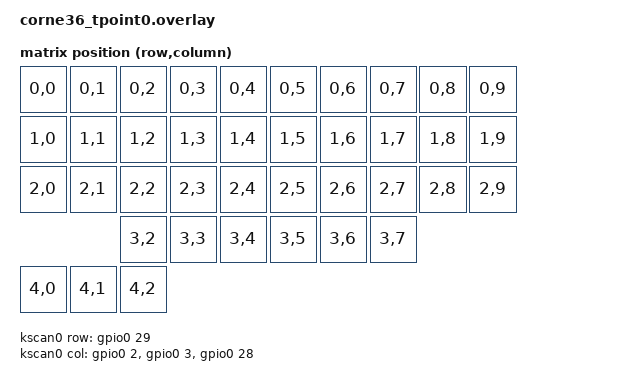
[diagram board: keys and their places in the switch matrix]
/*
 * Copyright (c) 2020 Pete Johanson
 *
 * SPDX-License-Identifier: MIT
 */

#include <dt-bindings/zmk/matrix_transform.h>

/ {
	chosen {
		zmk,kscan = &kscan0;
		zmk,matrix-transform = &default_transform;
 		// zephyr,display = &oled;
	};

	default_transform: keymap_transform_0 {
		compatible = "zmk,matrix-transform";
		columns = <10>;
		rows = <5>;
		map = <
RC(0,0) RC(0,1) RC(0,2) RC(0,3) RC(0,4)  RC(0,5) RC(0,6) RC(0,7) RC(0,8) RC(0,9)
RC(1,0) RC(1,1) RC(1,2) RC(1,3) RC(1,4)  RC(1,5) RC(1,6) RC(1,7) RC(1,8) RC(1,9)
RC(2,0) RC(2,1) RC(2,2) RC(2,3) RC(2,4)  RC(2,5) RC(2,6) RC(2,7) RC(2,8) RC(2,9)
                RC(3,2) RC(3,3) RC(3,4)  RC(3,5) RC(3,6) RC(3,7)
RC(4,0) RC(4,1) RC(4,2)
		>;
		row-offset = <4>;
		col-offset = <0>;
	};

	kscan0: kscan {
		compatible = "zmk,kscan-gpio-matrix";
		label = "KSCAN";
		diode-direction = "col2row";
		wakeup-source;
		row-gpios
			= <&gpio0 29 (GPIO_ACTIVE_HIGH | GPIO_PULL_DOWN)>;
		col-gpios
			= <&gpio0 2 GPIO_ACTIVE_HIGH>
			, <&gpio0 3 GPIO_ACTIVE_HIGH>
			, <&gpio0 28 GPIO_ACTIVE_HIGH>
			;
	};
};

// #include "corne36_trackball_adns9800.dtsi"
// #include "corne36_trackball_pmw3610.dtsi"
// #include "corne36_trackpoint_ps2.dtsi"
// #include "corne36_touchpad_cirque.dtsi" 
#include "corne36_tpoint0_ps2.dtsi" 

/ {
	pd0: virtual_input_0 {
		compatible = "zmk,virtual-input";
	};
	pd1: virtual_input_1 {
		compatible = "zmk,virtual-input";
	};
	tball0: virtual_input_tb_1 {
		compatible = "zmk,virtual-input";
	};
	tball1: virtual_input_tb_2 {
		compatible = "zmk,virtual-input";
	};
	// tpoint0: virtual_input_tp {
	// 	compatible = "zmk,virtual-input";
	// };
	tpad0: virtual_input_gp {
		compatible = "zmk,virtual-input";
	};
	// input_relay_config_102 {
	// 	compatible = "zmk,split-peripheral-input-relay";
	// 	relay-channel = <102>;
	// 	device = <&pd1>;
	// };
	// input_relay_config_103 {
	// 	compatible = "zmk,split-peripheral-input-relay";
	// 	relay-channel = <103>;
	// 	device = <&tball0>;
	// };
	// input_relay_config_104 {
	// 	compatible = "zmk,split-peripheral-input-relay";
	// 	relay-channel = <104>;
	// 	device = <&tball1>;
	// };
	input_relay_config_105 {
		compatible = "zmk,split-peripheral-input-relay";
		relay-channel = <105>;
		device = <&tpoint0>;
	};
	// input_relay_config_106 {
	// 	compatible = "zmk,split-peripheral-input-relay";
	// 	relay-channel = <106>;
	// 	device = <&tpad0>;
	// };
};

#define INPUT_EV_KEY 0x01               /**< Key event */
#define INPUT_EV_REL 0x02               /**< Relative coordinate event */
#define INPUT_EV_ABS 0x03               /**< Absolute coordinate event */
#define INPUT_EV_MSC 0x04               /**< Miscellaneous event */
#define INPUT_EV_VENDOR_START 0xf0      /**< Vendor specific event start */
#define INPUT_EV_VENDOR_STOP 0xff       /**< Vendor specific event stop */

#define INPUT_REL_X 0x00                /**< Relative X coordinate */
#define INPUT_REL_Y 0x01                /**< Relative Y coordinate */
#define INPUT_REL_WHEEL 0x08            /**< Relative wheel coordinate */
#define INPUT_REL_HWHEEL 0x06           /**< Relative horizontal wheel coordinate */
#define INPUT_REL_MISC 0x09             /**< Relative misc coordinate */

// &adc {
// 	status = "okay";
// };

// / {
// 	anin0: analog_input_0 {
// 		compatible = "zmk,analog-input";
// 		sampling-hz = <100>;
// 		x-ch {
// 			io-channels = <&adc 2>;
// 			mv-mid = <1630>;
// 			mv-min-max = <1600>;
// 			mv-deadzone = <10>;
// 			scale-multiplier = <1>;
// 			scale-divisor = <70>;
// 			invert;
// 			evt-type = <INPUT_EV_REL>;
// 			input-code = <INPUT_REL_X>;
// 		};
// 		y-ch {
// 			io-channels = <&adc 3>;
// 			mv-mid = <1630>;
// 			mv-min-max = <1600>;
// 			mv-deadzone = <10>;
// 			scale-multiplier = <1>;
// 			scale-divisor = <70>;
// 			invert;
// 			evt-type = <INPUT_EV_REL>;
// 			input-code = <INPUT_REL_Y>;
// 		};
// 	};
// };

// /{
// 	s_encoder: s_encoder {
// 		compatible = "alps,ec11";
// 		a-gpios = <&gpio0 4 (GPIO_ACTIVE_HIGH | GPIO_PULL_UP)>;
// 		b-gpios = <&gpio0 5 (GPIO_ACTIVE_HIGH | GPIO_PULL_UP)>;
// 		steps = <80>;
// 		status = "disabled";
// 	};
// 	sensors: sensors {
// 		compatible = "zmk,keymap-sensors";
// 		status = "disabled";
// 		sensors = <>;
// 		triggers-per-rotation = <20>;
// 	};
// };
// &s_encoder {
//     status = "okay";
// };
// &sensors {
// 		status = "okay";
// 		sensors = <&s_encoder>;
// };

// #include "corne36__haptic_drv2605.dtsi"
/{
	fb_lra0: fb_lra0 {
		compatible = "zmk,output-haptic-feedback";
		#binding-cells = <0>;
		// driver = "drv2605";
		// device = <&drv2605_0>;
	};
};
